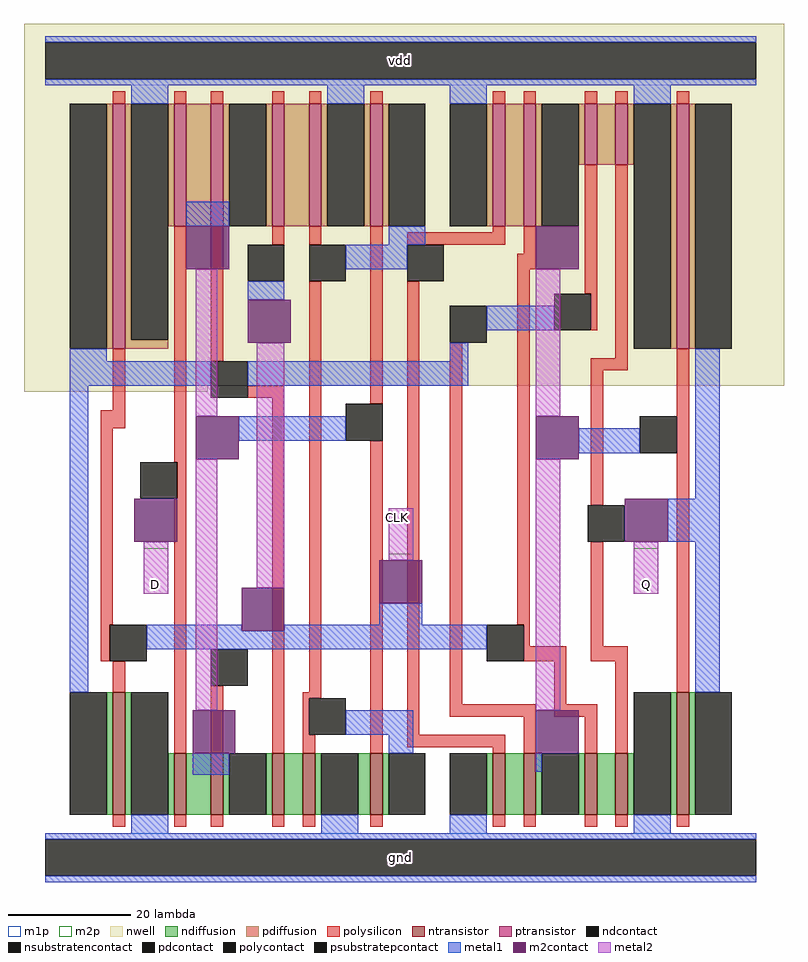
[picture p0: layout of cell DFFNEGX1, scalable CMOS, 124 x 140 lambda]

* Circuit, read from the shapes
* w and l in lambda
.subckt DFFNEGX1 D CLK Q vdd gnd
M1 gnd CLK n1 gnd nfet w=20 l=2
M2 n2 D gnd gnd nfet w=10 l=2
M3 n3 CLK n2 gnd nfet w=10 l=2
M4 n4 n1 n3 gnd nfet w=10 l=2
M5 gnd n5 n4 gnd nfet w=10 l=2
M6 n5 n3 gnd gnd nfet w=10 l=2
M7 n6 n5 gnd gnd nfet w=10 l=2
M8 n7 n1 n6 gnd nfet w=10 l=2
M9 n8 CLK n7 gnd nfet w=10 l=2
M10 gnd Q n8 gnd nfet w=10 l=2
M11 Q n7 gnd gnd nfet w=20 l=2
M12 vdd CLK n1 vdd pfet w=40 l=2
M13 n9 D vdd vdd pfet w=20 l=2
M14 n3 n1 n9 vdd pfet w=20 l=2
M15 n10 CLK n3 vdd pfet w=20 l=2
M16 vdd n5 n10 vdd pfet w=20 l=2
M17 n5 n3 vdd vdd pfet w=20 l=2
M18 n11 n5 vdd vdd pfet w=20 l=2
M19 n7 CLK n11 vdd pfet w=20 l=2
M20 n12 n1 n7 vdd pfet w=10 l=2
M21 vdd Q n12 vdd pfet w=10 l=2
M22 Q n7 vdd vdd pfet w=40 l=2
.ends

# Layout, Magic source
magic
tech scmos
magscale 1 2
<< nwell >>
rect -13 154 235 272
rect -13 152 47 154
<< ntransistor >>
rect 16 14 20 54
rect 36 14 40 34
rect 48 14 52 34
rect 68 14 72 34
rect 78 14 82 34
rect 100 14 104 34
rect 140 14 144 34
rect 150 14 154 34
rect 170 14 174 34
rect 180 14 184 34
rect 200 14 204 54
<< ptransistor >>
rect 16 166 20 246
rect 36 206 40 246
rect 48 206 52 246
rect 68 206 72 246
rect 80 206 84 246
rect 100 206 104 246
rect 140 206 144 246
rect 150 206 154 246
rect 170 226 174 246
rect 180 226 184 246
rect 200 166 204 246
<< ndiffusion >>
rect 14 14 16 54
rect 20 14 22 54
rect 34 14 36 34
rect 40 14 48 34
rect 52 14 54 34
rect 66 14 68 34
rect 72 14 78 34
rect 82 14 84 34
rect 96 14 100 34
rect 104 14 106 34
rect 138 14 140 34
rect 144 14 150 34
rect 154 14 156 34
rect 168 14 170 34
rect 174 14 180 34
rect 184 14 186 34
rect 198 14 200 54
rect 204 14 206 54
<< pdiffusion >>
rect 14 166 16 246
rect 20 169 22 246
rect 34 206 36 246
rect 40 206 48 246
rect 52 206 54 246
rect 66 206 68 246
rect 72 206 80 246
rect 84 206 86 246
rect 98 206 100 246
rect 104 206 106 246
rect 138 206 140 246
rect 144 206 150 246
rect 154 206 156 246
rect 168 226 170 246
rect 174 226 180 246
rect 184 226 186 246
rect 20 166 34 169
rect 198 166 200 246
rect 204 166 206 246
<< ndcontact >>
rect 2 14 14 54
rect 22 14 34 54
rect 54 14 66 34
rect 84 14 96 34
rect 106 14 118 34
rect 126 14 138 34
rect 156 14 168 34
rect 186 14 198 54
rect 206 14 218 54
<< pdcontact >>
rect 2 166 14 246
rect 22 169 34 246
rect 54 206 66 246
rect 86 206 98 246
rect 106 206 118 246
rect 126 206 138 246
rect 156 206 168 246
rect 186 166 198 246
rect 206 166 218 246
<< psubstratepcontact >>
rect -6 -6 226 6
<< nsubstratencontact >>
rect -6 254 226 266
<< polysilicon >>
rect 16 246 20 250
rect 36 246 40 250
rect 48 246 52 250
rect 68 246 72 250
rect 80 246 84 250
rect 100 246 104 250
rect 140 246 144 250
rect 150 246 154 250
rect 170 246 174 250
rect 180 246 184 250
rect 200 246 204 250
rect 16 146 20 166
rect 12 140 20 146
rect 12 76 16 140
rect 36 129 40 206
rect 48 162 52 206
rect 68 200 72 206
rect 80 200 84 206
rect 60 150 72 154
rect 37 117 40 129
rect 12 64 15 76
rect 16 54 20 64
rect 36 34 40 117
rect 48 34 52 56
rect 68 34 72 150
rect 80 54 84 188
rect 100 148 104 206
rect 140 204 144 206
rect 78 52 84 54
rect 78 40 80 52
rect 78 34 82 40
rect 100 34 104 136
rect 112 200 144 204
rect 150 197 154 206
rect 148 192 154 197
rect 112 40 116 188
rect 126 50 130 168
rect 148 76 152 192
rect 170 184 174 226
rect 172 172 174 184
rect 180 163 184 226
rect 172 159 184 163
rect 172 115 176 159
rect 150 69 152 76
rect 172 69 176 103
rect 150 64 164 69
rect 172 64 184 69
rect 160 50 164 64
rect 126 46 154 50
rect 160 46 174 50
rect 112 36 144 40
rect 140 34 144 36
rect 150 34 154 46
rect 170 34 174 46
rect 180 34 184 64
rect 200 54 204 166
rect 16 10 20 14
rect 36 10 40 14
rect 48 10 52 14
rect 68 10 72 14
rect 78 10 82 14
rect 100 10 104 14
rect 140 10 144 14
rect 150 10 154 14
rect 170 10 174 14
rect 180 10 184 14
rect 200 10 204 14
<< polycontact >>
rect 60 188 72 200
rect 80 188 92 200
rect 48 150 60 162
rect 25 117 37 129
rect 15 64 27 76
rect 48 56 60 68
rect 92 136 104 148
rect 80 40 92 52
rect 112 188 124 200
rect 126 168 138 180
rect 160 172 172 184
rect 188 132 200 144
rect 171 103 183 115
rect 138 64 150 76
<< metal1 >>
rect -6 266 226 268
rect -6 252 226 254
rect 22 246 34 252
rect 86 246 98 252
rect 126 246 138 252
rect 186 246 198 252
rect 40 206 54 214
rect 106 200 118 206
rect 92 192 112 200
rect 60 182 72 188
rect 138 172 160 180
rect 2 162 14 166
rect 126 162 132 168
rect 2 154 48 162
rect 2 54 8 154
rect 60 154 132 162
rect 57 136 92 144
rect 168 132 188 140
rect 206 117 214 166
rect 197 103 214 117
rect 27 74 58 76
rect 103 76 117 83
rect 72 74 138 76
rect 27 68 138 74
rect 206 54 214 103
rect 92 40 114 48
rect 106 34 114 40
rect 42 27 54 34
rect 154 28 156 34
rect 22 8 34 14
rect 84 8 96 14
rect 126 8 138 14
rect 186 8 198 14
rect -6 6 226 8
rect -6 -8 226 -6
<< m2contact >>
rect 40 192 54 206
rect 154 192 168 206
rect 60 168 74 182
rect 43 130 57 144
rect 154 130 168 144
rect 23 103 37 117
rect 183 103 197 117
rect 58 74 72 88
rect 103 83 117 97
rect 42 34 56 48
rect 154 34 168 48
<< metal2 >>
rect 43 144 50 192
rect 26 86 34 103
rect 43 48 50 130
rect 63 88 72 168
rect 154 144 162 192
rect 106 97 114 114
rect 154 48 162 130
rect 186 86 194 103
<< m1p >>
rect -6 252 226 268
rect -6 -8 226 8
<< m2p >>
rect 26 86 34 101
rect 106 99 114 114
rect 186 86 194 101
<< labels >>
rlabel metal2 30 89 30 89 5 D
port 1 n signal input
rlabel metal2 109 111 109 111 1 CLK
port 2 n signal input
rlabel metal2 190 89 190 89 1 Q
port 3 n signal output
rlabel metal1 -6 252 226 268 0 vdd
port 4 nsew power bidirectional abutment
rlabel metal1 -6 -8 226 8 0 gnd
port 5 nsew ground bidirectional abutment
<< properties >>
string FIXED_BBOX 0 0 220 260
string LEFclass CORE
string LEFsite core
string LEFsymmetry X Y
<< end >>
